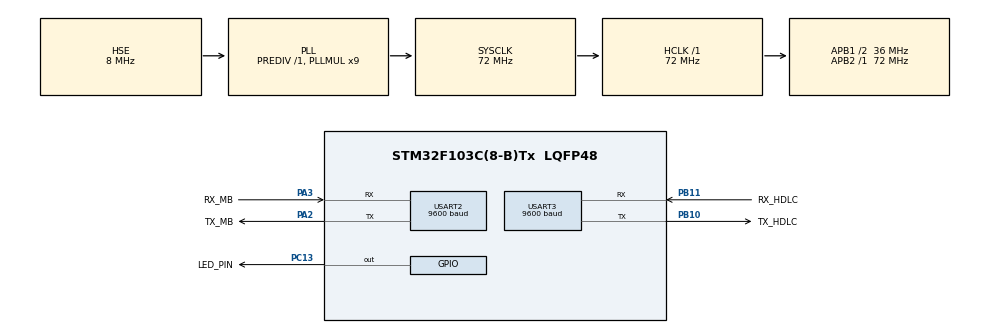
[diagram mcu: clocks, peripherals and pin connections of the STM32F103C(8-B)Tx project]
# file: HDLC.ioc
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Dma.Request0=USART3_TX
Dma.Request1=USART2_TX
Dma.USART2_TX.1.Direction=DMA_MEMORY_TO_PERIPH
Dma.USART2_TX.1.Instance=DMA1_Channel7
Dma.USART2_TX.1.MemDataAlignment=DMA_MDATAALIGN_BYTE
Dma.USART2_TX.1.MemInc=DMA_MINC_ENABLE
Dma.USART2_TX.1.Mode=DMA_NORMAL
Dma.USART2_TX.1.PeriphDataAlignment=DMA_PDATAALIGN_BYTE
Dma.USART2_TX.1.PeriphInc=DMA_PINC_DISABLE
Dma.USART2_TX.1.Priority=DMA_PRIORITY_LOW
Dma.USART3_TX.0.Direction=DMA_MEMORY_TO_PERIPH
Dma.USART3_TX.0.Instance=DMA1_Channel2
Dma.USART3_TX.0.MemDataAlignment=DMA_MDATAALIGN_BYTE
Dma.USART3_TX.0.MemInc=DMA_MINC_ENABLE
Dma.USART3_TX.0.Mode=DMA_NORMAL
Dma.USART3_TX.0.PeriphDataAlignment=DMA_PDATAALIGN_BYTE
Dma.USART3_TX.0.PeriphInc=DMA_PINC_DISABLE
Dma.USART3_TX.0.Priority=DMA_PRIORITY_LOW
Mcu.Family=STM32F1
Mcu.Name=STM32F103C(8-B)Tx
Mcu.Package=LQFP48
NVIC.DMA1_Channel2_IRQn=true\:0\:0\:false\:false\:true\:false\:true\:true
NVIC.DMA1_Channel7_IRQn=true\:0\:0\:false\:false\:true\:false\:true\:true
NVIC.PriorityGroup=NVIC_PRIORITYGROUP_4
NVIC.TIM1_UP_IRQn=true\:0\:0\:false\:false\:true\:true\:true\:true
NVIC.USART2_IRQn=true\:0\:0\:false\:false\:true\:true\:true\:true
NVIC.USART3_IRQn=true\:0\:0\:false\:false\:true\:true\:true\:true
PA13.Mode=Serial_Wire
PA13.Signal=SYS_JTMS-SWDIO
PA14.Mode=Serial_Wire
PA14.Signal=SYS_JTCK-SWCLK
PA2.GPIO_Label=TX_MB
PA2.Mode=Asynchronous
PA2.Signal=USART2_TX
PA3.GPIO_Label=RX_MB
PA3.Mode=Asynchronous
PA3.Signal=USART2_RX
PB10.GPIO_Label=TX_HDLC
PB10.Mode=Asynchronous
PB10.Signal=USART3_TX
PB11.GPIO_Label=RX_HDLC
PB11.Mode=Asynchronous
PB11.Signal=USART3_RX
PC13-TAMPER-RTC.GPIO_Label=LED_PIN
PC13-TAMPER-RTC.Signal=GPIO_Output
PD0-OSC_IN.Mode=HSE-External-Oscillator
PD0-OSC_IN.Signal=RCC_OSC_IN
PD1-OSC_OUT.Mode=HSE-External-Oscillator
PD1-OSC_OUT.Signal=RCC_OSC_OUT
ProjectManager.HeapSize=0x200
ProjectManager.StackSize=0x400
ProjectManager.TargetToolchain=MDK-ARM V5.32
RCC.AHBFreq_Value=72000000
RCC.APB1CLKDivider=RCC_HCLK_DIV2
RCC.APB1Freq_Value=36000000
RCC.APB1TimFreq_Value=72000000
RCC.APB2Freq_Value=72000000
RCC.APB2TimFreq_Value=72000000
RCC.HCLKFreq_Value=72000000
RCC.PLLMUL=RCC_PLL_MUL9
RCC.PLLSourceVirtual=RCC_PLLSOURCE_HSE
RCC.SYSCLKFreq_VALUE=72000000
RCC.SYSCLKSource=RCC_SYSCLKSOURCE_PLLCLK
RCC.USBFreq_Value=72000000
TIM1.Period=1000-1
TIM1.Prescaler=7200-1
USART2.BaudRate=9600
USART2.VirtualMode=VM_ASYNC
USART3.BaudRate=9600
USART3.VirtualMode=VM_ASYNC
VP_TIM1_VS_ClockSourceINT.Mode=Internal
board=custom

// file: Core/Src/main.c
/* USER CODE BEGIN Header */
/**
  ******************************************************************************
  * @file           : main.c
  * @brief          : Main program body
  ******************************************************************************
  * @attention
  *
  * Copyright (c) 2023 STMicroelectronics.
  * All rights reserved.
  *
  * This software is licensed under terms that can be found in the LICENSE file
  * in the root directory of this software component.
  * If no LICENSE file comes with this software, it is provided AS-IS.
  *
  ******************************************************************************
  */
/* USER CODE END Header */
#include "main.h"

/* USER CODE BEGIN Includes */
//#include "Protocol.h"
#include "stdbool.h"
#include "HDLC_Protocol.h"
#include "ModBusSlave.h"
#include <stdlib.h>
#include "eeprom.h"
/* USER CODE END Includes */

/* USER CODE BEGIN PD */
#define BUF_LEN           100u
#define TIME_SLEAP        500u    //ms
//#define READY_TO_TRANSMIT 1
typedef enum
{
  NONE,
  READY_TO_TRANSMIT,
  WAIT_TO
} t_status;

typedef union
{
  float fl[10];
  uint32_t u32[10];
  uint16_t u16[20];
}t_typeflConvert;

typedef union
{
  int64_t i64[3];
  uint16_t u16[12];
}t_typeI64Convert;

typedef struct
{
  float CurrentA;
  float CurrentB;
  float CurrentC;
  float VoltageA;
  float VoltageB;
  float VoltageC;
  float SumPowerReactive;
  float SumPowerActive;
  float SumPowerApparent;
  float CosFi;

  int64_t EnergyActiveImport;
  int64_t EnergyReactiveImport;
  int64_t EnergyApparentImport;
}t_MB_Holding_registers;
//---------------------------------ServConfig-----------------------------------------------

typedef struct
{
  uint16_t NumServ;
  uint16_t ServAdr_1;
  uint16_t ServPasword_1[4];
  uint16_t ServAdr_2;
  uint16_t ServPasword_2[4];
  uint16_t ServAdr_3;
  uint16_t ServPasword_3[4];
  uint16_t ServAdr_4;
  uint16_t ServPasword_4[4];
}t_MB_Preset_Registers;

/* USER CODE END PD */

TIM_HandleTypeDef htim1;

UART_HandleTypeDef huart2;
UART_HandleTypeDef huart3;
DMA_HandleTypeDef hdma_usart2_tx;
DMA_HandleTypeDef hdma_usart3_tx;

/* USER CODE BEGIN PV */
// TODO глобальные переменные пишем с большой буквы
uint8_t Rx_buf_HDLC[BUF_LEN] = {0};
uint8_t Tx_buf_HDLC[BUF_LEN] = {0};
uint8_t Rxel_HDLC = 0;
uint8_t Txel_HDLC = 0;

uint8_t Rx_buf_MB[BUF_LEN] = {0};
uint8_t Tx_buf_MB[BUF_LEN] = {0};
uint8_t Rxel_MB = 0;
uint8_t Txel_MB = 0;
uint16_t SendRegMB [100] = {0};
int64_t TES = 0;
//-----------------------------TEST_VARIABLES-------------------------------------
uint32_t Test_1=0;
uint16_t Test_2=0;
uint32_t readData[2] = {0, 0};
uint32_t eeprom_buf;
t_HDLCservParam Serv;
bool ChangeServParam = false;
//--------------------------------------------------------------------------------
/* USER CODE END PV */

void SystemClock_Config(void);
static void MX_GPIO_Init(void);
static void MX_DMA_Init(void);
static void MX_USART3_UART_Init(void);
static void MX_TIM1_Init(void);
static void MX_USART2_UART_Init(void);

/* USER CODE BEGIN 0 */
// ----------------------------------------------------------------------------
void HAL_TIM_PeriodElapsedCallback(TIM_HandleTypeDef *htim)
{
  if(htim->Instance == TIM1)
  {
    HAL_GPIO_TogglePin(LED_PIN_GPIO_Port, LED_PIN_Pin);
  }
}
// ----------------------------------------------------------------------------
void HAL_UART_RxCpltCallback(UART_HandleTypeDef *huart)
{
  if(huart == &huart3)
  {

    HDLC_ProtocolDataReceive(&Rx_buf_HDLC[Rxel_HDLC], 1);

    if (Rxel_HDLC == (BUF_LEN-1) )
      Rxel_HDLC = 0;
    else
      Rxel_HDLC++;
    HAL_UART_Receive_IT(&huart3, &Rx_buf_HDLC[Rxel_HDLC], 1);

//    if (++Rxel_HDLC >= BUF_LEN)
//      Rxel_HDLC = 0;

  }
  if(huart == &huart2)
  {

    ModBusSetData(&Rx_buf_MB[Rxel_MB], 1);

    if (Rxel_MB == (BUF_LEN-1) )
      Rxel_MB = 0;
    else
      Rxel_MB++;
    HAL_UART_Receive_IT(&huart2, &Rx_buf_MB[Rxel_MB], 1);

//    if (++Rxel_MB >= BUF_LEN)
//      Rxel_MB = 0;

  }
}
// ----------------------------------------------------------------------------
void UartSendDataHDLC(uint8_t *data, uint16_t len)
{
  // сделать проверку длины данных и размера буфера
  if(len > BUF_LEN)
  {
    return;
  }
  memcpy(Tx_buf_HDLC, data, len);
  HAL_UART_Transmit_DMA(&huart3, Tx_buf_HDLC, len);
  return;
}

void UartSendDataMB(uint8_t *data, uint16_t len)
{
  // сделать проверку длины данных и размера буфера
  if(len > BUF_LEN)
  {
    return;
  }
  memcpy(Tx_buf_MB, data, len);
  HAL_UART_Transmit_DMA(&huart2, Tx_buf_MB, len);
  return;
}

void f_invertTwoWords(void* data)
{
  uint32_t* buf = (uint32_t* ) data;
  *buf = ( (*buf >> 16) | (*buf << 16) );
}

void f_invertFourWords(void* data)
{
  uint64_t* buf = (uint64_t* ) data;
  *buf = (*buf >> 48) | ( (*buf >> 16) & 0xffff0000 ) | ( (*buf << 16) & 0xffff00000000 ) | (*buf << 48);
}
// ----------------------------------------------------------------------------
void InitFromFlash()
{

}
// ----------------------------------------------------------------------------
/* USER CODE END 0 */

int main(void)
{
  /* USER CODE BEGIN 1 */
  t_MB_Holding_registers HDLC_to_MB_Holding;
  t_MB_Preset_Registers HDLC_to_MB_Preset;//, HDLC_to_MB_Preset_Control; стоит ли
  t_typeflConvert HDLC_to_MB_fl;
  t_typeI64Convert HDLC_to_MB_i64;

//  t_HDLCservParam Serv;__________________________________________Вынесено в тест
//  uint32_t FLASH_BUF = 0;
  /* USER CODE END 1 */

  /* MCU Configuration--------------------------------------------------------*/

  /* Reset of all peripherals, Initializes the Flash interface and the Systick. */
  HAL_Init();

  /* Configure the system clock */
  SystemClock_Config();

  /* Initialize all configured peripherals */
  MX_GPIO_Init();
  MX_DMA_Init();
  MX_USART3_UART_Init();
  MX_TIM1_Init();
  MX_USART2_UART_Init();
  /* USER CODE BEGIN 2 */
  HAL_TIM_Base_Start_IT(&htim1);

  HAL_UART_Receive_IT(&huart3, Rx_buf_HDLC, 1);
  HAL_UART_Receive_IT(&huart2, Rx_buf_MB, 1);

  t_InitParams initHDLC;
  t_modbus_init_struct initMB;
//------------------------------------HDLC_INIT------------------------------------
  HDLC_ProtocolInitParamsStructureReset(&initHDLC);
//  initHDLC.server_address = DEFAULT_SERVER_ADDRESS;//HDLC_to_MB_Preset.ServAdr_1;
//  initHDLC.client_address = DEFAULT_CLIENT_ADDRESS;
//  memcpy(initHDLC.pasword, (uint8_t*)HDLC_to_MB_Preset.ServPasword_1, 8);

  initHDLC.uartSendDataCB = UartSendDataHDLC;
  initHDLC.getTicksCB = HAL_GetTick;

  HDLC_ProtocolInit(&initHDLC);
//--------------------------------------MB_INIT------------------------------------
  initMB.stationId = 1;
  initMB._GetTicks100Mks = HAL_GetTick;
  initMB._sendByte = UartSendDataMB;
  initMB.HoldingRegistersPtr = (uint16_t*)&HDLC_to_MB_Holding;//SendRegMB;
  initMB.HoldingRegistersSize = 32;

  initMB.PresetRegistersPtr = (uint16_t*)&HDLC_to_MB_Preset;
  initMB.PresetRegistersSize = 21;

  ModBusInit(&initMB);
//--------------------------------------EEPROM_INIT--------------------------------
  EEPROM_Init();
//  uint32_t eeprom_buf;_____________________________________________Вынесен в ТЕСТ
/*
  EEPROM_Write(PARAM_1, 0xF);
  EEPROM_Write(PARAM_2, 0xF0F0F0F0);
  EEPROM_Write(PARAM_3, 0xF0F0F0F0);
*/
  EEPROM_Read(PARAM_1, &eeprom_buf);
  if (Serv.Adr != eeprom_buf)
  {
    Serv.Adr = eeprom_buf;
  }

  EEPROM_Read(PARAM_2, &eeprom_buf);
  if (memcmp(&Serv.password[0], &eeprom_buf, sizeof(eeprom_buf)) != 0)
  {
    memcpy(&Serv.password[0], &eeprom_buf, sizeof(eeprom_buf));
  }

  EEPROM_Read(PARAM_3, &eeprom_buf);
  if (memcmp(&Serv.password[4], &eeprom_buf, sizeof(eeprom_buf)) != 0)
  {
    memcpy(&Serv.password[4], &eeprom_buf, sizeof(eeprom_buf));
  }
  HDLCservParamSET(Serv, 0);
//  EEPROM_Write(PARAM_1, 0x1234);
//  EEPROM_Write(PARAM_2, 0x4321);
//  EEPROM_Read(PARAM_1, HDLC_to_MB_Preset.NumServ);
/*
  if(HDLC_to_MB_Preset.NumServ != 0)
  {
    EEPROM_Read(PARAM_1, &FLASH_BUF);
    if(HDLC_to_MB_Preset.NumServ != FLASH_BUF)
    {
      EEPROM_Write(PARAM_1, HDLC_to_MB_Preset.NumServ);
    }

    EEPROM_Read(PARAM_2, &FLASH_BUF);
    if(HDLC_to_MB_Preset.ServAdr_1 != FLASH_BUF)
    {
      EEPROM_Write(PARAM_2, HDLC_to_MB_Preset.NumServ);
    }
    EEPROM_Read(PARAM_3, &FLASH_BUF);
    if(memcmp(&HDLC_to_MB_Preset.ServPasword_1[0], &FLASH_BUF, sizeof(FLASH_BUF) ) != 0)
    {
      EEPROM_Write(PARAM_3, *(uint32_t*)&HDLC_to_MB_Preset.ServPasword_1[0]);
    }
    EEPROM_Read(PARAM_4, &FLASH_BUF);
    if(memcmp(&HDLC_to_MB_Preset.ServPasword_1[2], &FLASH_BUF, sizeof(FLASH_BUF) ) != 0)
    {
      EEPROM_Write(PARAM_4, *(uint32_t*)&HDLC_to_MB_Preset.ServPasword_1[2]);
    }
  }
*/
//--------------------------------------------------------------------------------
  /* USER CODE END 2 */

  /* Infinite loop */
  /* USER CODE BEGIN WHILE */

  while (1)
  {
    ModBusRun();

    Serv = HDLCservParamGET(0);
    if(HDLC_to_MB_Preset.NumServ != 0)
    {
      EEPROM_Read(PARAM_1, &eeprom_buf);
      if (HDLC_to_MB_Preset.ServAdr_1 != eeprom_buf)
      {
        Serv.Adr = HDLC_to_MB_Preset.ServAdr_1;
        EEPROM_Write(PARAM_1, Serv.Adr);
        ChangeServParam = true;
      }

      EEPROM_Read(PARAM_2, &eeprom_buf);
      if (memcmp(&HDLC_to_MB_Preset.ServPasword_1[0], &eeprom_buf, sizeof(eeprom_buf)) != 0)
      {
        memcpy(&Serv.password[0], &HDLC_to_MB_Preset.ServPasword_1[0], sizeof(eeprom_buf));
        memcpy(&eeprom_buf, &Serv.password[0], sizeof(eeprom_buf));
        EEPROM_Write(PARAM_2, eeprom_buf);
        ChangeServParam = true;
      }

      EEPROM_Read(PARAM_3, &eeprom_buf);
      if (memcmp(&HDLC_to_MB_Preset.ServPasword_1[2], &eeprom_buf, sizeof(eeprom_buf)) != 0)
      {
        memcpy(&Serv.password[4], &HDLC_to_MB_Preset.ServPasword_1[2], sizeof(eeprom_buf));
        memcpy(&eeprom_buf, &Serv.password[4], sizeof(eeprom_buf));
        EEPROM_Write(PARAM_3, eeprom_buf);
        ChangeServParam = true;
      }

      if (ChangeServParam)
      {
        HDLCservParamSET(Serv, 0);
        ChangeServParam = false;
        HDLC_ProtocolInit(&initHDLC);
      }
    }

    HDLC_ProtocolMain();

    /* USER CODE END WHILE */

    /* USER CODE BEGIN 3 */
//    float temp = GetVoltageC();
    //invertWords(&temp,2);
    HDLC_to_MB_Holding.CurrentA         = GetCurrentA();
    HDLC_to_MB_Holding.CurrentB         = GetCurrentB();
    HDLC_to_MB_Holding.CurrentC         = GetCurrentC();
    HDLC_to_MB_Holding.VoltageA         = GetVoltageA();
    HDLC_to_MB_Holding.VoltageB         = GetVoltageB();
    HDLC_to_MB_Holding.VoltageC         = GetVoltageC();
    HDLC_to_MB_Holding.SumPowerReactive = GetSumPowerReactive();
    HDLC_to_MB_Holding.SumPowerActive   = GetSumPowerActive();
    HDLC_to_MB_Holding.SumPowerApparent = GetSumPowerApparent();
    HDLC_to_MB_Holding.CosFi            = GetCosFi();

    HDLC_to_MB_Holding.EnergyActiveImport   = GetEnergyActiveImport();
    HDLC_to_MB_Holding.EnergyReactiveImport = GetEnergyReactiveImport();
    HDLC_to_MB_Holding.EnergyApparentImport = GetEnergyApparentImport();

    for(int i=0; i+1<20; i+=2)
    {
      SendRegMB[ i ] = HDLC_to_MB_fl.u16[i+1];
      SendRegMB[i+1] = HDLC_to_MB_fl.u16[ i ];
    }
    TES = GetEnergyActiveImport();
    for(int i=0; i+3<12; i+=4)
    {
      SendRegMB[ (i+20) ]=HDLC_to_MB_i64.u16[i+3];
      SendRegMB[(i+20)+1]=HDLC_to_MB_i64.u16[i+2];
      SendRegMB[(i+20)+2]=HDLC_to_MB_i64.u16[i+1];
      SendRegMB[(i+20)+3]=HDLC_to_MB_i64.u16[ i ];
    }
  }
  /* USER CODE END 3 */
}

void SystemClock_Config(void)
{
  RCC_OscInitTypeDef RCC_OscInitStruct = {0};
  RCC_ClkInitTypeDef RCC_ClkInitStruct = {0};

  /** Initializes the RCC Oscillators according to the specified parameters
  * in the RCC_OscInitTypeDef structure.
  */
  RCC_OscInitStruct.OscillatorType = RCC_OSCILLATORTYPE_HSE;
  RCC_OscInitStruct.HSEState = RCC_HSE_ON;
  RCC_OscInitStruct.HSEPredivValue = RCC_HSE_PREDIV_DIV1;
  RCC_OscInitStruct.HSIState = RCC_HSI_ON;
  RCC_OscInitStruct.PLL.PLLState = RCC_PLL_ON;
  RCC_OscInitStruct.PLL.PLLSource = RCC_PLLSOURCE_HSE;
  RCC_OscInitStruct.PLL.PLLMUL = RCC_PLL_MUL9;
  if (HAL_RCC_OscConfig(&RCC_OscInitStruct) != HAL_OK)
  {
    Error_Handler();
  }

  /** Initializes the CPU, AHB and APB buses clocks
  */
  RCC_ClkInitStruct.ClockType = RCC_CLOCKTYPE_HCLK|RCC_CLOCKTYPE_SYSCLK
                              |RCC_CLOCKTYPE_PCLK1|RCC_CLOCKTYPE_PCLK2;
  RCC_ClkInitStruct.SYSCLKSource = RCC_SYSCLKSOURCE_PLLCLK;
  RCC_ClkInitStruct.AHBCLKDivider = RCC_SYSCLK_DIV1;
  RCC_ClkInitStruct.APB1CLKDivider = RCC_HCLK_DIV2;
  RCC_ClkInitStruct.APB2CLKDivider = RCC_HCLK_DIV1;

  if (HAL_RCC_ClockConfig(&RCC_ClkInitStruct, FLASH_LATENCY_2) != HAL_OK)
  {
    Error_Handler();
  }
}

static void MX_TIM1_Init(void)
{

  TIM_ClockConfigTypeDef sClockSourceConfig = {0};
  TIM_MasterConfigTypeDef sMasterConfig = {0};

  htim1.Instance = TIM1;
  htim1.Init.Prescaler = 7200-1;
  htim1.Init.CounterMode = TIM_COUNTERMODE_UP;
  htim1.Init.Period = 1000-1;
  htim1.Init.ClockDivision = TIM_CLOCKDIVISION_DIV1;
  htim1.Init.RepetitionCounter = 0;
  htim1.Init.AutoReloadPreload = TIM_AUTORELOAD_PRELOAD_DISABLE;
  if (HAL_TIM_Base_Init(&htim1) != HAL_OK)
  {
    Error_Handler();
  }
  sClockSourceConfig.ClockSource = TIM_CLOCKSOURCE_INTERNAL;
  if (HAL_TIM_ConfigClockSource(&htim1, &sClockSourceConfig) != HAL_OK)
  {
    Error_Handler();
  }
  sMasterConfig.MasterOutputTrigger = TIM_TRGO_RESET;
  sMasterConfig.MasterSlaveMode = TIM_MASTERSLAVEMODE_DISABLE;
  if (HAL_TIMEx_MasterConfigSynchronization(&htim1, &sMasterConfig) != HAL_OK)
  {
    Error_Handler();
  }

}

static void MX_USART2_UART_Init(void)
{

  huart2.Instance = USART2;
  huart2.Init.BaudRate = 9600;
  huart2.Init.WordLength = UART_WORDLENGTH_8B;
  huart2.Init.StopBits = UART_STOPBITS_1;
  huart2.Init.Parity = UART_PARITY_NONE;
  huart2.Init.Mode = UART_MODE_TX_RX;
  huart2.Init.HwFlowCtl = UART_HWCONTROL_NONE;
  huart2.Init.OverSampling = UART_OVERSAMPLING_16;
  if (HAL_UART_Init(&huart2) != HAL_OK)
  {
    Error_Handler();
  }

}

static void MX_USART3_UART_Init(void)
{

  huart3.Instance = USART3;
  huart3.Init.BaudRate = 9600;
  huart3.Init.WordLength = UART_WORDLENGTH_8B;
  huart3.Init.StopBits = UART_STOPBITS_1;
  huart3.Init.Parity = UART_PARITY_NONE;
  huart3.Init.Mode = UART_MODE_TX_RX;
  huart3.Init.HwFlowCtl = UART_HWCONTROL_NONE;
  huart3.Init.OverSampling = UART_OVERSAMPLING_16;
  if (HAL_UART_Init(&huart3) != HAL_OK)
  {
    Error_Handler();
  }

}

static void MX_DMA_Init(void)
{

  /* DMA controller clock enable */
  __HAL_RCC_DMA1_CLK_ENABLE();

  /* DMA interrupt init */
  /* DMA1_Channel2_IRQn interrupt configuration */
  HAL_NVIC_SetPriority(DMA1_Channel2_IRQn, 0, 0);
  HAL_NVIC_EnableIRQ(DMA1_Channel2_IRQn);
  /* DMA1_Channel7_IRQn interrupt configuration */
  HAL_NVIC_SetPriority(DMA1_Channel7_IRQn, 0, 0);
  HAL_NVIC_EnableIRQ(DMA1_Channel7_IRQn);

}

static void MX_GPIO_Init(void)
{
  GPIO_InitTypeDef GPIO_InitStruct = {0};

  /* GPIO Ports Clock Enable */
  __HAL_RCC_GPIOC_CLK_ENABLE();
  __HAL_RCC_GPIOD_CLK_ENABLE();
  __HAL_RCC_GPIOA_CLK_ENABLE();
  __HAL_RCC_GPIOB_CLK_ENABLE();

  /*Configure GPIO pin Output Level */
  HAL_GPIO_WritePin(LED_PIN_GPIO_Port, LED_PIN_Pin, GPIO_PIN_RESET);

  /*Configure GPIO pin : LED_PIN_Pin */
  GPIO_InitStruct.Pin = LED_PIN_Pin;
  GPIO_InitStruct.Mode = GPIO_MODE_OUTPUT_PP;
  GPIO_InitStruct.Pull = GPIO_NOPULL;
  GPIO_InitStruct.Speed = GPIO_SPEED_FREQ_LOW;
  HAL_GPIO_Init(LED_PIN_GPIO_Port, &GPIO_InitStruct);

}

void Error_Handler(void)
{
  __disable_irq();
  while (1)
  {
  }
}
